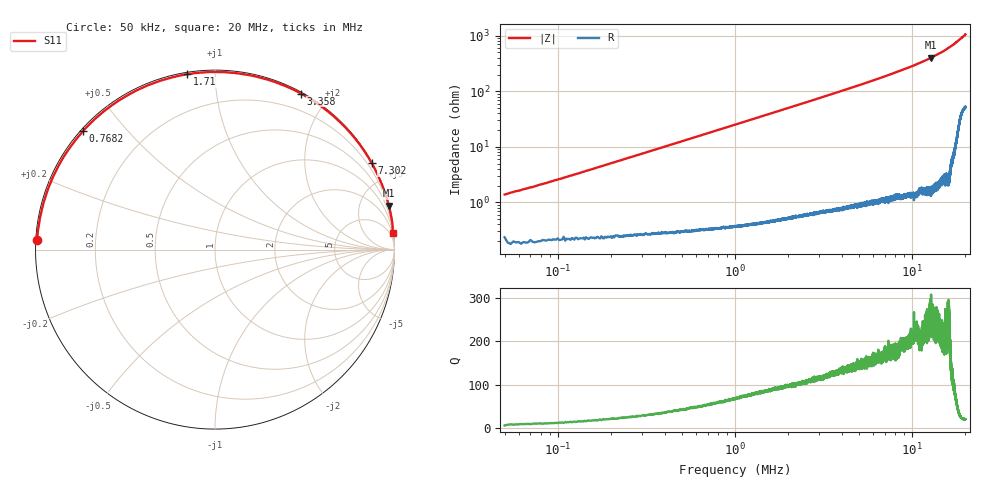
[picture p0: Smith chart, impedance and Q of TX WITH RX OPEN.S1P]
!Keysight Technologies,E5063A,MY54100949,A.07.30
!Date: Thu Dec 18 19:16:26 2025
!Data & Calibration Information:
!Freq	S11:SOLT1(ON)
# Hz S RI R 50
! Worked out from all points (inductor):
!   10001 points, 50 kHz to 20 MHz, reference 50 ohm
!   read as one part to ground: L = 4.02 uH near 149.8 kHz
!   highest Q = 264 at 12.85 MHz (marker M1), where L = 4.99 uH
!   S11 on the Smith chart (normalised r, x): 50 kHz: 0.00, +0.03; 768.2 kHz: 0.01, +0.38; 1.71 MHz: 0.01, +0.86; 3.358 MHz: 0.01, +1.69; 7.302 MHz: 0.02, +3.88; 20 MHz: 1, +21
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50000  -0.9892 0.0541
129800  -0.9827 0.1308
251495  -0.9585 0.2478
379175  -0.9198 0.3639
578675  -0.835 0.5288
768200  -0.7337 0.6622
989645  -0.599 0.786
1211090  -0.4579 0.8757
1450490  -0.3068 0.9401
1709840  -0.1534 0.9773
2124800  0.062 0.9884
2543750  0.2372 0.9617
2938760  0.3689 0.921
3357710  0.4792 0.8694
3728780  0.5572 0.8228
4117805  0.6233 0.7741
4540745  0.6816 0.7246
5037500  0.7356 0.6708
6068915  0.8143 0.5741
7301825  0.8728 0.4824
7531250  0.8808 0.4675
8718275  0.914 0.4005
1.0025e7  0.9384 0.3408
1.251875e7  0.9662 0.2537
1.284992e7  0.9688 0.2442
1.50125e7  0.9811 0.1884
1.750625e7  0.9889 0.1357
2e7  0.9909 0.0944
